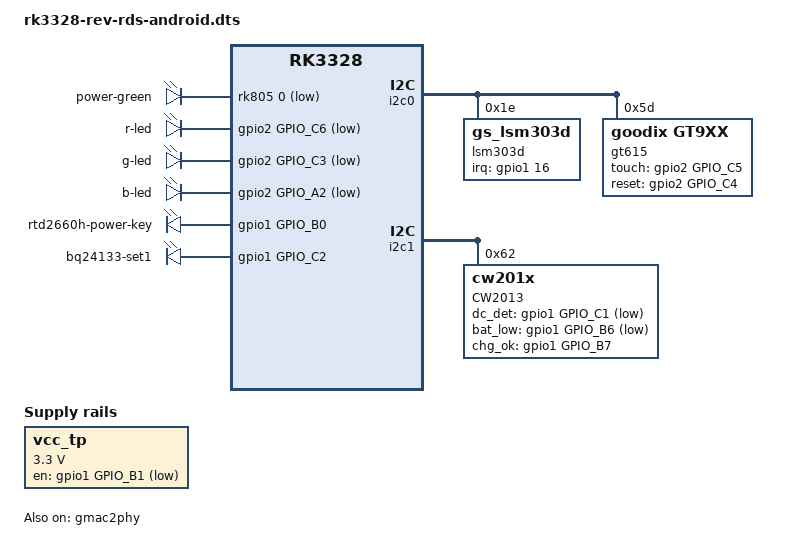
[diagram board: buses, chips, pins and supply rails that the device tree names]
/*
 * Copyright (c) 2016 Fuzhou Rockchip Electronics Co., Ltd
 *
 * This file is dual-licensed: you can use it either under the terms
 * of the GPL or the X11 license, at your option. Note that this dual
 * licensing only applies to this file, and not this project as a
 * whole.
 *
 *  a) This library is free software; you can redistribute it and/or
 *     modify it under the terms of the GNU General Public License as
 *     published by the Free Software Foundation; either version 2 of the
 *     License, or (at your option) any later version.
 *
 *     This library is distributed in the hope that it will be useful,
 *     but WITHOUT ANY WARRANTY; without even the implied warranty of
 *     MERCHANTABILITY or FITNESS FOR A PARTICULAR PURPOSE.  See the
 *     GNU General Public License for more details.
 *
 * Or, alternatively,
 *
 *  b) Permission is hereby granted, free of charge, to any person
 *     obtaining a copy of this software and associated documentation
 *     files (the "Software"), to deal in the Software without
 *     restriction, including without limitation the rights to use,
 *     copy, modify, merge, publish, distribute, sublicense, and/or
 *     sell copies of the Software, and to permit persons to whom the
 *     Software is furnished to do so, subject to the following
 *     conditions:
 *
 *     The above copyright notice and this permission notice shall be
 *     included in all copies or substantial portions of the Software.
 *
 *     THE SOFTWARE IS PROVIDED "AS IS", WITHOUT WARRANTY OF ANY KIND,
 *     EXPRESS OR IMPLIED, INCLUDING BUT NOT LIMITED TO THE WARRANTIES
 *     OF MERCHANTABILITY, FITNESS FOR A PARTICULAR PURPOSE AND
 *     NONINFRINGEMENT. IN NO EVENT SHALL THE AUTHORS OR COPYRIGHT
 *     HOLDERS BE LIABLE FOR ANY CLAIM, DAMAGES OR OTHER LIABILITY,
 *     WHETHER IN AN ACTION OF CONTRACT, TORT OR OTHERWISE, ARISING
 *     FROM, OUT OF OR IN CONNECTION WITH THE SOFTWARE OR THE USE OR
 *     OTHER DEALINGS IN THE SOFTWARE.
 */

/dts-v1/;

#include "rk3328.dtsi"
#include "rk3328-evb.dtsi"
#include "rk-stb-keymap.dtsi"

/ {
	leds {
		compatible = "gpio-leds";
		pinctrl-names = "default";
		pinctrl-0 = <&rtd2660h_pwr_key>,<&change_ctrl_gpio>;

		power-green {
			gpios = <&rk805 0 GPIO_ACTIVE_LOW>;
			linux,default-trigger = "none";
			default-state = "on";
			mode = <0x23>;
		};

		r-led {
			gpios = <&gpio2 GPIO_C6 GPIO_ACTIVE_LOW>;
			linux,default-trigger = "backlight";
			default-state = "off";
		};

		g-led {
			gpios = <&gpio2 GPIO_C3 GPIO_ACTIVE_LOW>;
			linux,default-trigger = "backlight";
			default-state = "off";
		};

		b-led {
			gpios = <&gpio2 GPIO_A2 GPIO_ACTIVE_LOW>;
			linux,default-trigger = "backlight";
			default-state = "off";
		};
		/*for suspend*/
		rtd2660h-power-key {
			gpios = <&gpio1 GPIO_B0 GPIO_ACTIVE_HIGH>;
			linux,default-trigger = "backlight";
			default-state = "on";
		};
		/*for suspend*/
		bq24133-set1 {
			gpios = <&gpio1 GPIO_C2 GPIO_ACTIVE_HIGH>;
			linux,default-trigger = "backlight";
			default-state = "on";
		};

	};

	vcc_tp: vcc-tp {
		compatible = "regulator-fixed";
		enable-active-low;
		gpio = <&gpio1 GPIO_B1 GPIO_ACTIVE_LOW>; // this gpio is not used,for kernel debug error message
		regulator-name = "vcc_tp";
		pinctrl-names = "default";
		pinctrl-0 = <&tp_pwr_ctrl>;
		regulator-min-microvolt = <3300000>;
		regulator-max-microvolt = <3300000>;
		regulator-boot-on;
	};
};

&rk805 {
    rtc {
        status = "okay";
    };
};

/*for blue led control*/
&pwm3 {
	status = "disabled";
};

&clk_core_dvfs_table {
	operating-points = <
		/* KHz	uV */
		408000	950000
		600000	950000
		816000	1000000
		1008000	1100000
		1200000	1225000
		1296000	1300000
		1392000	1350000
		1512000	1350000
		>;
	status = "okay";
};

&gmac2phy {
	/delete-property/ pinctrl-names;
	/delete-property/ pinctrl-0;  //for i2c0 touchpanel
	link-gpio = <&gpio2 GPIO_B7 GPIO_ACTIVE_HIGH>;
	led-gpio = <&gpio1 GPIO_C3 GPIO_ACTIVE_LOW>;
	status = "okay";
};

&wireless_bluetooth {
	/delete-property/ BT,wake_gpio;   //for dc_det
	/delete-property/ BT,power_gpio;	//GSEN_INT
};
&sdio {
	status = "disabled";
};
&i2c0{
	status = "okay";
	//pinctrl-names = "default","sleep";
//	pinctrl-0 = <&i2c0_xfer>;
//	pinctrl-1 = <&i2c0_sleep_mode>;

	lsm303d:lsm303d@1e {
		compatible = "gs_lsm303d";
		reg = <0x1e>;
		type = <SENSOR_TYPE_ACCEL>;
		pinctrl-names = "default";
		pinctrl-0 = <&gpio1_c0>,<&gpio2_c7>;
		irq-gpio = <&gpio1 16 IRQ_TYPE_LEVEL_LOW>;
		irq_enable = <1>;
		poll_delay_ms = <30>;
		layout = <1>;
	};

	gt615: gt615@5d {		// 0x28/0x29 or 0xba/bb
		status = "okay";
		compatible = "goodix,gt9xx";
		reg = <0x5d>;
		touch-gpio = <&gpio2 GPIO_C5 IRQ_TYPE_LEVEL_LOW>;
		reset-gpio = <&gpio2 GPIO_C4 GPIO_ACTIVE_HIGH>;
		max-x = <800>;
		max-y = <480>;
		tp-size = <911>;			// 89 101 911
	};
};

&rockchi_hdmi_i2s {
	status = "disabled";
};

&codec {
//	compatible = "rockchip,rk322x-codec";
	spk_ctl_io = <&gpio1 GPIO_B5 GPIO_ACTIVE_HIGH>;
};

&i2c1 {
	status = "okay";

	CW2013@62 {
		compatible = "cw201x";
		reg = <0x62>;

		dc_det_gpio = <&gpio1 GPIO_C1 GPIO_ACTIVE_LOW>;
		bat_low_gpio = <&gpio1 GPIO_B6 GPIO_ACTIVE_LOW>;
		/*bq24133 LOW when charge in progress. HIGH when charge is complete or in SLEEP mode. Blinking at 0.5 Hz when fault occurs*/
		chg_ok_gpio = <&gpio1 GPIO_B7 GPIO_ACTIVE_HIGH>;
		bat_config_info = <0x15 0x7e 0x61 0x59 0x53 0x57 0x53 0x4a 0x47 0x46 0x47 0x4f 0x51 0x3e 0x2d 0x25 0x20
			0x1c 0x17 0x16 0x1f 0x35 0x46 0x4f 0x25 0x2b 0x0c 0xcd 0x49 0x71 0x86 0x8e 0x8e 0x8a 0x8b 0x8a 0x40
			0x1a 0x45 0x2d 0x07 0x3c 0x3b 0x74 0x8c 0x91 0x91 0x41 0x4f 0x7b 0x9b 0xc1 0x80 0x9b 0xa3 0xcb 0x2f
			0x00 0x64 0xa5 0xb5 0x17 0x28 0x09>;
		is_dc_charge = <1>;
		is_usb_charge = <1>;
		monitor_sec = <5>;
		virtual_power = <0>;
		divider_res1 = <200>;
		divider_res2 = <200>;
		status = "okay";
	};
};

&pinctrl {
	i2c0 {
		i2c0_xfer: i2c0-xfer {
			rockchip,pins =
				<2 GPIO_D0 RK_FUNC_1 &pcfg_pull_none_smt>,
				<2 GPIO_D1 RK_FUNC_1 &pcfg_pull_none_smt>;
		};

		i2c0_sleep_mode: i2c0-sleep-mode {
			rockchip,pins =
				<2 GPIO_D0 RK_FUNC_GPIO &pcfg_pull_none_smt>,
				<2 GPIO_D1 RK_FUNC_GPIO &pcfg_pull_none_smt>;
		};
	};

	gpio {
		gpio1_c0: gpio1-c0 {
			rockchip,pins = <1 GPIO_C0 RK_FUNC_GPIO &pcfg_pull_up>;
		};

		gpio2_c7: gpio2-c7 {
			rockchip,pins = <2 GPIO_C7 RK_FUNC_GPIO &pcfg_pull_up>;
		};
	};

	rtd2660h-power {
		rtd2660h_pwr_key: rtd2660h-pwr-key {
			rockchip,pins = <1 GPIO_B0 RK_FUNC_GPIO &pcfg_pull_none_smt>;
		};
	};

	tp {
		tp_pwr_ctrl: tp-pwr-ctrl {
			rockchip,pins = <1 GPIO_B1 RK_FUNC_GPIO &pcfg_pull_none_smt>;
		};
	};

	bq24133 {
		change_ctrl_gpio: change-ctrl-gpio {
			rockchip,pins = <1 GPIO_C2 RK_FUNC_GPIO &pcfg_pull_none_smt>;
		};
	};

};
